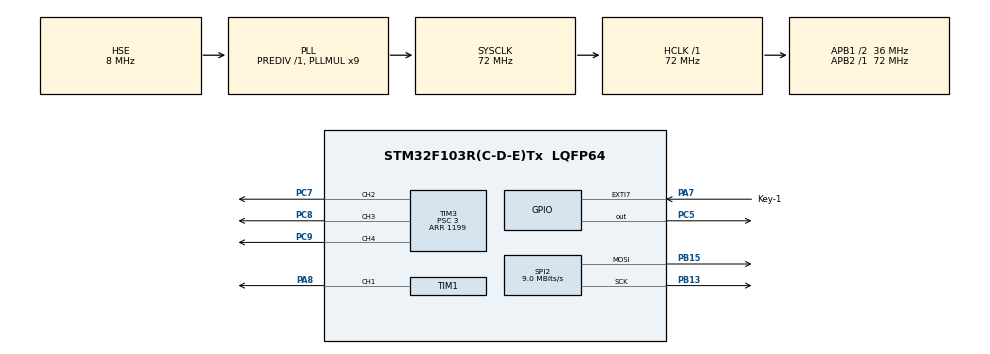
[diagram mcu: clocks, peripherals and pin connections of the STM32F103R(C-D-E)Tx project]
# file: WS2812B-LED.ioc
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Dma.Request0=SPI2_TX
Dma.SPI2_TX.0.Direction=DMA_MEMORY_TO_PERIPH
Dma.SPI2_TX.0.Instance=DMA1_Channel5
Dma.SPI2_TX.0.MemDataAlignment=DMA_MDATAALIGN_BYTE
Dma.SPI2_TX.0.MemInc=DMA_MINC_ENABLE
Dma.SPI2_TX.0.Mode=DMA_NORMAL
Dma.SPI2_TX.0.PeriphDataAlignment=DMA_PDATAALIGN_BYTE
Dma.SPI2_TX.0.PeriphInc=DMA_PINC_DISABLE
Dma.SPI2_TX.0.Priority=DMA_PRIORITY_LOW
Mcu.Family=STM32F1
Mcu.Name=STM32F103R(C-D-E)Tx
Mcu.Package=LQFP64
NVIC.DMA1_Channel5_IRQn=true\:0\:0\:false\:false\:true\:false\:true\:true
NVIC.EXTI9_5_IRQn=true\:2\:0\:true\:false\:true\:true\:true\:true
NVIC.PriorityGroup=NVIC_PRIORITYGROUP_4
NVIC.TIM2_IRQn=true\:1\:0\:true\:false\:true\:true\:true\:true
PA13.Mode=Serial_Wire
PA13.Signal=SYS_JTMS-SWDIO
PA14.Mode=Serial_Wire
PA14.Signal=SYS_JTCK-SWCLK
PA7.GPIO_Label=Key-1
PA7.GPIO_ModeDefaultEXTI=GPIO_MODE_IT_FALLING
PA7.Signal=GPXTI7
PA8.GPIO_Speed=GPIO_SPEED_FREQ_HIGH
PA8.Signal=S_TIM1_CH1
PB13.Mode=TX_Only_Simplex_Unidirect_Master
PB13.Signal=SPI2_SCK
PB15.Mode=TX_Only_Simplex_Unidirect_Master
PB15.Signal=SPI2_MOSI
PC5.Signal=GPIO_Output
PC7.GPIO_Speed=GPIO_SPEED_FREQ_HIGH
PC7.Signal=S_TIM3_CH2
PC8.GPIO_Speed=GPIO_SPEED_FREQ_HIGH
PC8.Signal=S_TIM3_CH3
PC9.GPIO_Speed=GPIO_SPEED_FREQ_HIGH
PC9.Signal=S_TIM3_CH4
PD0-OSC_IN.Mode=HSE-External-Oscillator
PD0-OSC_IN.Signal=RCC_OSC_IN
PD1-OSC_OUT.Mode=HSE-External-Oscillator
PD1-OSC_OUT.Signal=RCC_OSC_OUT
ProjectManager.HeapSize=0x200
ProjectManager.StackSize=0x400
ProjectManager.TargetToolchain=MDK-ARM V5.32
RCC.AHBFreq_Value=72000000
RCC.APB1CLKDivider=RCC_HCLK_DIV2
RCC.APB1Freq_Value=36000000
RCC.APB1TimFreq_Value=72000000
RCC.APB2Freq_Value=72000000
RCC.APB2TimFreq_Value=72000000
RCC.HCLKFreq_Value=72000000
RCC.PLLMUL=RCC_PLL_MUL9
RCC.PLLSourceVirtual=RCC_PLLSOURCE_HSE
RCC.SYSCLKFreq_VALUE=72000000
RCC.SYSCLKSource=RCC_SYSCLKSOURCE_PLLCLK
RCC.USBFreq_Value=72000000
SH.S_TIM1_CH1.0=TIM1_CH1,PWM Generation1 CH1
SH.S_TIM3_CH2.0=TIM3_CH2,PWM Generation2 CH2
SH.S_TIM3_CH3.0=TIM3_CH3,PWM Generation3 CH3
SH.S_TIM3_CH4.0=TIM3_CH4,PWM Generation4 CH4
SPI2.BaudRatePrescaler=SPI_BAUDRATEPRESCALER_4
SPI2.CalculateBaudRate=9.0 MBits/s
SPI2.Direction=SPI_DIRECTION_2LINES
SPI2.Mode=SPI_MODE_MASTER
SPI2.VirtualType=VM_MASTER
TIM1.AutoReloadPreload=TIM_AUTORELOAD_PRELOAD_ENABLE
TIM1.BreakPolarity=TIM_BREAKPOLARITY_LOW
TIM1.Channel-PWM\ Generation1\ CH1=TIM_CHANNEL_1
TIM1.OCPolarity_1=TIM_OCPOLARITY_LOW
TIM1.Period=99
TIM1.Prescaler=719
TIM1.Pulse-PWM\ Generation1\ CH1=49
TIM2.AutoReloadPreload=TIM_AUTORELOAD_PRELOAD_ENABLE
TIM2.Period=9999
TIM2.Prescaler=7199
TIM3.AutoReloadPreload=TIM_AUTORELOAD_PRELOAD_ENABLE
TIM3.Channel-PWM\ Generation2\ CH2=TIM_CHANNEL_2
TIM3.Channel-PWM\ Generation3\ CH3=TIM_CHANNEL_3
TIM3.Channel-PWM\ Generation4\ CH4=TIM_CHANNEL_4
TIM3.Period=1199
TIM3.Prescaler=3
TIM3.Pulse-PWM\ Generation2\ CH2=1
TIM3.Pulse-PWM\ Generation3\ CH3=1
TIM3.Pulse-PWM\ Generation4\ CH4=1
VP_TIM1_VS_ClockSourceINT.Mode=Internal
VP_TIM2_VS_ClockSourceINT.Mode=Internal
VP_TIM3_VS_ClockSourceINT.Mode=Internal
board=custom

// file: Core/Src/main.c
/* USER CODE BEGIN Header */
/**
  ******************************************************************************
  * @file           : main.c
  * @brief          : Main program body
  ******************************************************************************
  * @attention
  *
  * Copyright (c) 2025 STMicroelectronics.
  * All rights reserved.
  *
  * This software is licensed under terms that can be found in the LICENSE file
  * in the root directory of this software component.
  * If no LICENSE file comes with this software, it is provided AS-IS.
  *
  ******************************************************************************
  */
/* USER CODE END Header */
#include "main.h"
#include "dma.h"
#include "spi.h"
#include "tim.h"
#include "gpio.h"

/* USER CODE BEGIN Includes */
#include "ws2812b_port.h"
#include "driver_ws2812b.h"
#include "stdbool.h"
// #include "driver_ws2812b_basic.h"
/* USER CODE END Includes */

/* USER CODE BEGIN PTD */
struct soft_timer {
	uint32_t timeout;
	void * args;
	void (*func)(void *);
};
/* USER CODE END PTD */

/* USER CODE BEGIN PM */
#define		BUS_SET_BIT	 	1
#define		BUS_RESET_BIT	0
#define		TOGGLE_LED()  HAL_GPIO_TogglePin(GPIOC, GPIO_PIN_5);

/* USER CODE END PM */

/* USER CODE BEGIN PV */
int g_key_cnt = 0;
 uint8_t Flash = 0;

void key_timeout_func(void *args);

struct soft_timer key_timer = {~0, NULL, key_timeout_func};
struct soft_timer dimmer_1_timer = {~0, NULL, key_timeout_func};

void key_timeout_func(void *args)
{
	g_key_cnt++;
	key_timer.timeout = ~0;
}

void mod_timer(struct soft_timer *pTimer, uint32_t timeout)
{
	pTimer->timeout = HAL_GetTick() + timeout;
}

void check_timer(void)
{
	if (key_timer.timeout <= HAL_GetTick())
	{
		Flash = 1;
		key_timer.func(key_timer.args);
	}
	if (dimmer_1_timer.timeout <= HAL_GetTick()){
		Flash = 1;
		dimmer_1_timer.func(dimmer_1_timer.args);
	}
}
/* USER CODE END PV */

void SystemClock_Config(void);

/* USER CODE BEGIN 0 */
uint16_t pulse1 = 0;
static bool toggle_strobe = false;
static bool toggle_breath = false;
static uint8_t breath_color = 0;
void HAL_TIM_PeriodElapsedCallback(TIM_HandleTypeDef *htim){
	if (htim->Instance == TIM2) {
       TOGGLE_LED(); //HAL_GPIO_TogglePin(GPIOC, GPIO_PIN_5); // ??PA5??(LED)
////		TIM_OC_InitTypeDef sConfigOC = {0};
////		sConfigOC.OCMode = TIM_OCMODE_PWM1;
////		sConfigOC.Pulse =
////		sConfigOC.OCPolarity = TIM_OCPOLARITY_HIGH;
////		sConfigOC.OCNPolarity = TIM_OCNPOLARITY_HIGH;
////		sConfigOC.OCFastMode = TIM_OCFAST_DISABLE;
////		HAL_TIM_PWM_ConfigChannel(htim, &sConfigOC, TIM_CHANNEL_1);
////		HAL_TIM_PWM_Start(htim, TIM_CHANNEL_1);  // ?? PWM
//
//		if(pulse1 == 0){
//			mod_timer(&dimmer_1_timer,2000);
//			pulse1 = 1;
//						WS2812_SetPulse(&htim1,pulse1);

//			Flash = 2;
//		}
//
//
//		if(pulse1 == 20){
//			mod_timer(&key_timer,2000);
//									WS2812_SetPulse(&htim1,pulse1);

//			// pulse1 = 0;
//			Flash = 0;
//			// return;
//			// pulse1 = 1;
////			if (key_timer.timeout <= HAL_GetTick())
////			{
////				pulse1 = 1;
////			}
////			else return;
//		}
////		if (key_timer.timeout <= HAL_GetTick()){
////			;
////		}
////		else return;
////		if(Flash == 1){
////			WS2812_SetPulse(&htim1,10);
////		}else	WS2812_SetPulse(&htim1,0);

////		Flash = !Flash;
//		if(Flash == 1){
//			WS2812_SetPulse(&htim1,pulse1);
//			pulse1++;
//			if(pulse1 == 20)	pulse1 = 0;
//		}

/*
		if(Flash == 0){
			WS2812_SetPulse(&htim1,pulse1++);
		}
		if(pulse1 == 150)
			Flash = 1;

		if(Flash == 1){
			WS2812_SetPulse(&htim1,pulse1--);
		}

		if(pulse1 == 0){
			WS2812_SetPulse(&htim1,0);
			Flash = 0;
		}

*/

	// Red

	if(toggle_breath == false){
					if(breath_color == 0){
						LED_PWM_OUT(&htim1,pulse1++,TIM_CHANNEL_1);

					}else if(breath_color == 1){
						LED_PWM_OUT(&htim3,pulse1++,TIM_CHANNEL_2);

					}else if(breath_color == 2){
						LED_PWM_OUT(&htim3,pulse1++,TIM_CHANNEL_3);

					}else if(breath_color == 3){
						LED_PWM_OUT(&htim3,pulse1++,TIM_CHANNEL_4);

					}
	}else if(toggle_breath == true){
					if(breath_color == 0){
						LED_PWM_OUT(&htim1,pulse1--,TIM_CHANNEL_1);

					}else if(breath_color == 1){
						LED_PWM_OUT(&htim3,pulse1--,TIM_CHANNEL_2);

					}else if(breath_color == 2){
						LED_PWM_OUT(&htim3,pulse1--,TIM_CHANNEL_3);

					}else if(breath_color == 3){
						LED_PWM_OUT(&htim3,pulse1--,TIM_CHANNEL_4);

					}

	}

	if(toggle_breath == true && pulse1 == 0){
		breath_color++;
		if(breath_color == 4){
			breath_color = 0;
		}
		toggle_breath = false;
	}

	if(breath_color == 0){
		LED_PWM_OUT(&htim1,pulse1++,TIM_CHANNEL_1);

	}else if(breath_color == 1){
		LED_PWM_OUT(&htim3,pulse1++,TIM_CHANNEL_2);

	}else if(breath_color == 2){
		LED_PWM_OUT(&htim3,pulse1++,TIM_CHANNEL_3);

	}else if(breath_color == 3){
		LED_PWM_OUT(&htim3,pulse1++,TIM_CHANNEL_4);
	}

	if(pulse1 == 10){
		breath_color++;
		if(breath_color == 4)
			breath_color = 0;
		toggle_breath = true;
	}

    }

}

void HAL_GPIO_EXTI_Callback(uint16_t GPIO_Pin) {
    if (GPIO_Pin == Key_1_Pin) {  // ? GPIO_PIN_0
        // ??????,?? HAL_GPIO_TogglePin(LED_GPIO_Port, LED_Pin);

		// Send pulse
		WS2812_SetPulse(&htim1,BUS_SET_BIT);
    }
}

// define TIM2-IRQ Function
//void TIM2_IRQHandler(void)
//{
//  HAL_TIM_IRQHandler(&htim2);
//}
/* USER CODE END 0 */

int main(void)
{

  /* MCU Configuration--------------------------------------------------------*/

  /* Reset of all peripherals, Initializes the Flash interface and the Systick. */
  HAL_Init();

  /* Configure the system clock */
  SystemClock_Config();

  /* Initialize all configured peripherals */
  MX_GPIO_Init();
  MX_DMA_Init();
  MX_TIM3_Init();
  MX_TIM2_Init();
  MX_SPI2_Init();
  MX_TIM1_Init();
  /* USER CODE BEGIN 2 */
	// Enable TIM3
//	HAL_TIM_Base_Start_IT(&htim3);				// Frequency : 1kHz ; Pulse : 50%
	 HAL_TIM_Base_Start_IT(&htim2);				// Enable TIM2 Timing 1s
	 HAL_GPIO_WritePin(GPIOC, GPIO_PIN_5, GPIO_PIN_SET);

	HAL_TIM_PWM_Start(&htim1, TIM_CHANNEL_1);
	HAL_TIM_PWM_Start(&htim3, TIM_CHANNEL_2);
	HAL_TIM_PWM_Start(&htim3, TIM_CHANNEL_3);
	HAL_TIM_PWM_Start(&htim3, TIM_CHANNEL_4);

//	HAL_TIM_PWM_Start(&htim3, TIM_CHANNEL_1);
  /* USER CODE END 2 */

  /* Infinite loop */
  /* USER CODE BEGIN WHILE */
  // WS2812_SetPulse(&htim1,BUS_SET_BIT);
  while (1)
  {
    /* USER CODE END WHILE */

  }
}

void SystemClock_Config(void)
{
  RCC_OscInitTypeDef RCC_OscInitStruct = {0};
  RCC_ClkInitTypeDef RCC_ClkInitStruct = {0};

  /** Initializes the RCC Oscillators according to the specified parameters
  * in the RCC_OscInitTypeDef structure.
  */
  RCC_OscInitStruct.OscillatorType = RCC_OSCILLATORTYPE_HSE;
  RCC_OscInitStruct.HSEState = RCC_HSE_ON;
  RCC_OscInitStruct.HSEPredivValue = RCC_HSE_PREDIV_DIV1;
  RCC_OscInitStruct.HSIState = RCC_HSI_ON;
  RCC_OscInitStruct.PLL.PLLState = RCC_PLL_ON;
  RCC_OscInitStruct.PLL.PLLSource = RCC_PLLSOURCE_HSE;
  RCC_OscInitStruct.PLL.PLLMUL = RCC_PLL_MUL9;
  if (HAL_RCC_OscConfig(&RCC_OscInitStruct) != HAL_OK)
  {
    Error_Handler();
  }

  /** Initializes the CPU, AHB and APB buses clocks
  */
  RCC_ClkInitStruct.ClockType = RCC_CLOCKTYPE_HCLK|RCC_CLOCKTYPE_SYSCLK
                              |RCC_CLOCKTYPE_PCLK1|RCC_CLOCKTYPE_PCLK2;
  RCC_ClkInitStruct.SYSCLKSource = RCC_SYSCLKSOURCE_PLLCLK;
  RCC_ClkInitStruct.AHBCLKDivider = RCC_SYSCLK_DIV1;
  RCC_ClkInitStruct.APB1CLKDivider = RCC_HCLK_DIV2;
  RCC_ClkInitStruct.APB2CLKDivider = RCC_HCLK_DIV1;

  if (HAL_RCC_ClockConfig(&RCC_ClkInitStruct, FLASH_LATENCY_2) != HAL_OK)
  {
    Error_Handler();
  }
}

void Error_Handler(void)
{
  __disable_irq();
  while (1)
  {
  }
}
